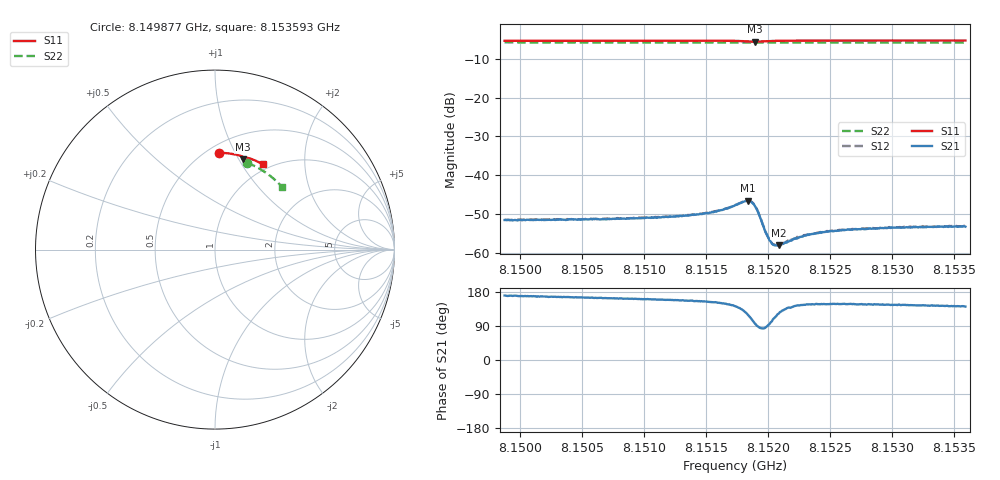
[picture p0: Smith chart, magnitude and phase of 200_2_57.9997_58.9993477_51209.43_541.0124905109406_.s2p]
#  HZ  S  RI  R  50.00
! Rohde & Schwarz Vector Network Analyzer
! Rohde-Schwarz,ZNB20-2Port,1311601062101988,3.16
! Created: UTC 3/21/2024, 12:59:12 AM
! freq[Hz]  re:S11  im:S11  re:S21  im:S21  re:S12  im:S12  re:S22  im:S22
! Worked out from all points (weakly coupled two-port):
!   401 points, 8.149877 GHz to 8.153593 GHz, reference 50 ohm
!   highest |S21| = -46.55 dB at 8.151837 GHz (marker M1); lowest = -58.1 dB at 8.152088 GHz (marker M2)
!   lowest |S11| = -5.6 dB at 8.151893 GHz (marker M3), VSWR 3.22, Z = 37.3 + j52 ohm
!   |S11| at or under -10 dB: nowhere
!   |S22| runs from -5.8 to -5.7 dB; largest |S21 - S12| = 0.00012
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8.149877e9  0.0222 0.5396  -0.00261 0.000454  -0.00264 0.000526  0.1784 0.484
8.1504994e9  0.0659 0.5371  -0.00262 0.000701  -0.00262 0.000751  0.2153 0.468
8.1511219e9  0.1094 0.5308  -0.00271 0.00102  -0.00269 0.0011  0.2509 0.4492
8.1512891e9  0.1213 0.5284  -0.00278 0.00116  -0.00275 0.00118  0.2601 0.4435
8.1515028e9  0.137 0.5243  -0.00292 0.00142  -0.00293 0.00149  0.2719 0.4361
8.1516328e9  0.1469 0.5208  -0.00307 0.00183  -0.00308 0.00188  0.2788 0.4314
8.151735e9  0.1551 0.5159  -0.00323 0.00253  -0.00324 0.00257  0.2842 0.4276
8.1518372e9  0.1593 0.5061  -0.00236 0.00407  -0.00229 0.00411  0.2894 0.4236
8.1518651e9  0.1574 0.5037  -0.00149 0.0043  -0.00141 0.00438  0.2908 0.4225
8.1518929e9  0.1544 0.5035  -0.000532 0.00405  -0.000498 0.00409  0.292 0.4217
8.1519208e9  0.1525 0.5057  9.62e-05 0.00336  0.000177 0.00339  0.2933 0.4208
8.1519766e9  0.1547 0.5112  0.000184 0.00192  0.000196 0.00196  0.296 0.419
8.1520137e9  0.1581 0.5132  -0.000124 0.00145  -0.000147 0.00149  0.2982 0.4176
8.1520323e9  0.1601 0.5138  -0.000275 0.00129  -0.00028 0.00131  0.2991 0.4169
8.1520509e9  0.1619 0.514  -0.00044 0.00118  -0.000408 0.00122  0.3001 0.4162
8.152088e9  0.1652 0.5143  -0.000673 0.00105  -0.000656 0.00105  0.3021 0.4147
8.1522367e9  0.1778 0.5126  -0.00124 0.000901  -0.00129 0.000968  0.3097 0.4089
8.1523575e9  0.1868 0.51  -0.00148 0.00095  -0.0015 0.000967  0.3159 0.4041
8.1524875e9  0.196 0.5071  -0.00159 0.00102  -0.00157 0.00106  0.3221 0.3988
8.1525897e9  0.203 0.5046  -0.00165 0.00105  -0.00164 0.0011  0.3272 0.3945
8.1529799e9  0.2287 0.4944  -0.00176 0.00119  -0.00174 0.00126  0.3456 0.3777
8.1535931e9  0.2672 0.4758  -0.00169 0.00137  -0.00172 0.00139  0.3728 0.3498
